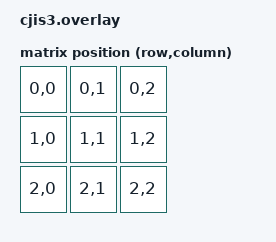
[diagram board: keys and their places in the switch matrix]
/ {
    chosen {
        zmk,kscan = &default_kscan;
        zmk,matrix_transform = &default_transform;
    };

    default_kscan: kscan {
        compatible = "zmk,kscan-gpio-matrix";
        label = default_kscan";
        diode_direction = col2row;

        row-gpios = <&pro_micro 024 (GPIO_ACTIVE_HIGH | GPIO_PULL_DOWN)>,
                    <&pro_micro 100 (GPIO_ACTIVE_HIGH | GPIO_PULL_DOWN)>,
                    <&pro_micro 011 (GPIO_ACTIVE_HIGH | GPIO_PULL_DOWN)>,

        col-gpios = <&pro_micro 017 GPIO_ACTIVE_HIGH>,
                    <&pro_micro 020 GPIO_ACTIVE_HIGH>,
                    <&pro_micro 022 GPIO_ACTIVE_HIGH>, 
    };

    default_transform: matrix_transform {
        compatible = "zmk,matrix_transform";
        rows = <3>;
        columns = <3>;

        map = <
            RC(0,0) RC(0,1) RC(0,2)
            RC(1,0) RC(1,1) RC(1,2)
            RC(2,0) RC(2,1) RC(2,2)
        >;
    };
};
